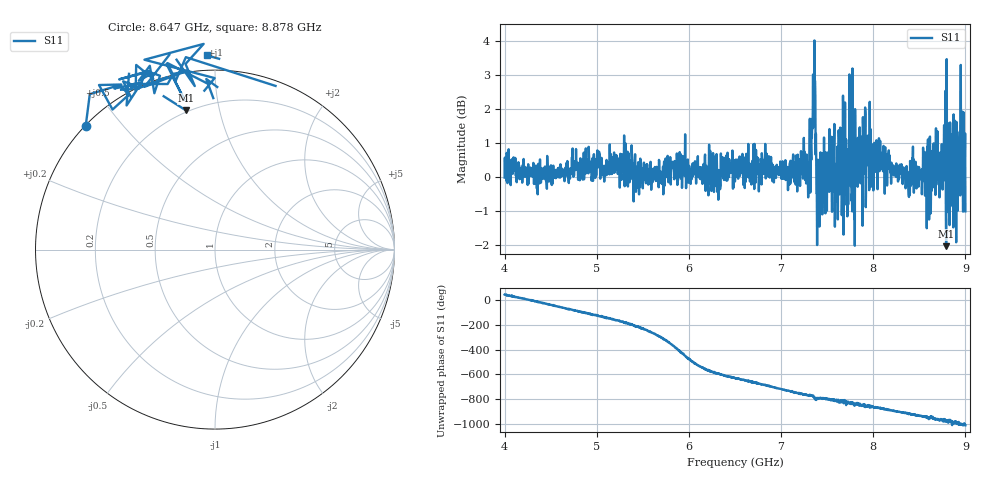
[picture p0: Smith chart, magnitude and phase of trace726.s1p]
! Created with skrf 1.8.0 (http://scikit-rf.org).
# Hz S RI R 50.0
!freq ReS11 ImS11
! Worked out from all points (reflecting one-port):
!   1601 points, 4 GHz to 9 GHz, reference 50 ohm
!   lowest |S11| = -2.0 dB at 8.791 GHz (marker M1), VSWR 8.62, Z = 9.55 + j39.8 ohm
!   phase of S11 starts at 45 deg and turns -1057 deg over the sweep
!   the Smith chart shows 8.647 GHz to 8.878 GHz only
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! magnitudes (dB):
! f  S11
! 4 GHz  0.0
! 4.625 GHz  0.0
! 5.25 GHz  -0.3
! 5.875 GHz  -0.2
! 6.5 GHz  -0.1
! 7.125 GHz  0.3
! 7.294 GHz  -0.6
! 7.356 GHz  2.5
! 7.4 GHz  0.5
! 7.412 GHz  -0.5
! 7.538 GHz  1.2
! 7.609 GHz  0.0
! 7.65 GHz  1.2
! 7.703 GHz  0.8
! 7.75 GHz  0.3
! 7.775 GHz  3.2
! 7.891 GHz  1.0
! 7.981 GHz  0.3
! 8.097 GHz  0.4
! 8.375 GHz  -0.1
! 8.569 GHz  0.4
! 8.622 GHz  -1.1
! 8.656 GHz  1.0
! 8.766 GHz  0.9
! 8.791 GHz  -2.0
! 8.844 GHz  -0.7
! 8.972 GHz  0.3
! 9 GHz  -1.0
